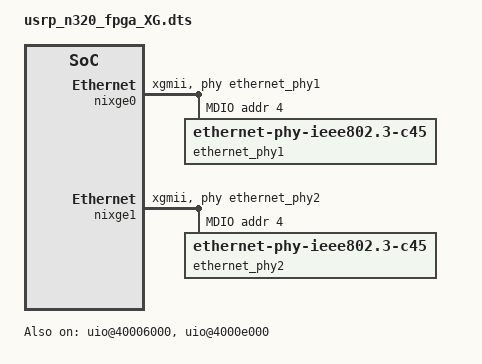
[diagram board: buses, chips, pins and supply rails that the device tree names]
// SPDX-License-Identifier: GPL-2.0 OR X11
/*
 * Copyright (c) 2018 National Instruments Corp
 */

/dts-v1/;
/plugin/;

#include "n320-fpga.dtsi"

&fpga_full {
	nixge0: ethernet@40000000 {
		compatible = "ni,xge-enet-2.00";
		reg = <0x40000000 0x6000>;

		clocks = <&clkc 15>;
		clock-names = "bus_clk";

		nvmem-cells = <&eth1_addr>;
		nvmem-cell-names = "address";

		interrupts = <0 29 4>, <0 30 4>;
		interrupt-names = "rx", "tx";
		interrupt-parent = <&intc>;
		status = "okay";

		phy-mode = "xgmii";
		phy-handle = <&ethernet_phy1>;

		mdio {
			ethernet_phy1: ethernet-phy@4 {
				compatible = "ethernet-phy-ieee802.3-c45";
				reg = <4>;
			};
		};
	};

	uio@40006000 {
		compatible = "usrp-uio";
		reg = <0x40006000 0x2000>;
		reg-names = "misc-enet-regs0";
		status = "okay";
	};

	nixge1: ethernet@40008000 {
		compatible = "ni,xge-enet-2.00";
		reg = <0x40008000 0x6000>;

		clocks = <&clkc 15>;
		clock-names = "bus_clk";

		nvmem-cells = <&eth2_addr>;
		nvmem-cell-names = "address";

		interrupts = <0 31 4>, <0 32 4>;
		interrupt-names = "rx", "tx";
		interrupt-parent = <&intc>;
		status = "okay";

		phy-mode = "xgmii";
		phy-handle = <&ethernet_phy2>;

		mdio {
			ethernet_phy2: ethernet-phy@4 {
				compatible = "ethernet-phy-ieee802.3-c45";
				reg = <4>;
			};
		};
	};

	uio@4000e000 {
		compatible = "usrp-uio";
		reg = <0x4000e000 0x2000>;
		reg-names = "misc-enet-regs1";
		status = "okay";
	};
};

#include "n320-common.dtsi"
#include "dma-common.dtsi"
